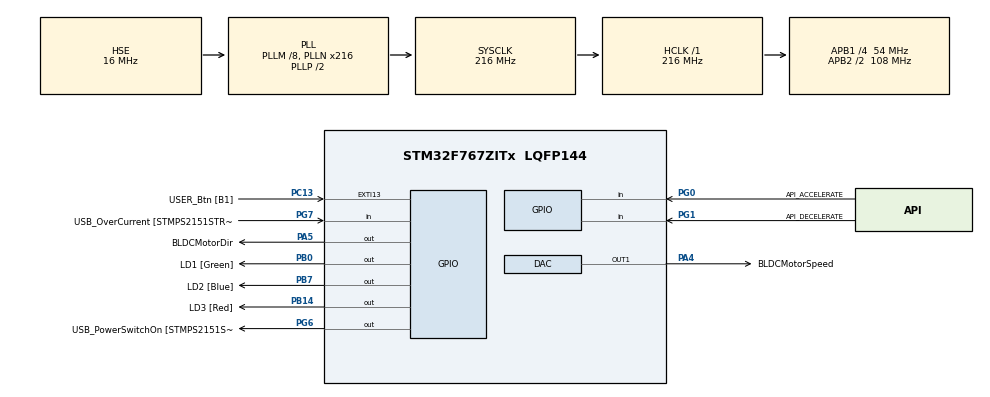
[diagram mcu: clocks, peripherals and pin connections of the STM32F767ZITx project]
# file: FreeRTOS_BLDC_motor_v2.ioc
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DAC.DAC_Trigger=DAC_TRIGGER_NONE
Mcu.Family=STM32F7
Mcu.Name=STM32F767ZITx
Mcu.Package=LQFP144
NVIC.PriorityGroup=NVIC_PRIORITYGROUP_4
PA1.GPIO_Label=RMII_REF_CLK [LAN8742A-CZ-TR_REFCLK0]
PA1.Signal=ETH_REF_CLK
PA10.GPIO_Label=USB_ID
PA10.Signal=USB_OTG_FS_ID
PA11.GPIO_Label=USB_DM
PA11.Signal=USB_OTG_FS_DM
PA12.GPIO_Label=USB_DP
PA12.Signal=USB_OTG_FS_DP
PA13.GPIO_Label=TMS
PA13.Signal=SYS_JTMS-SWDIO
PA14.GPIO_Label=TCK
PA14.Signal=SYS_JTCK-SWCLK
PA2.GPIO_Label=RMII_MDIO [LAN8742A-CZ-TR_MDIO]
PA2.Signal=ETH_MDIO
PA4.GPIO_Label=BLDCMotorSpeed
PA4.Signal=COMP_DAC1_group
PA5.GPIO_Label=BLDCMotorDir
PA5.Signal=GPIO_Output
PA7.GPIO_Label=RMII_CRS_DV [LAN8742A-CZ-TR_CRS_DV]
PA7.Signal=ETH_CRS_DV
PA8.GPIO_Label=USB_SOF [TP1]
PA8.Signal=USB_OTG_FS_SOF
PA9.GPIO_Label=USB_VBUS
PA9.Signal=USB_OTG_FS_VBUS
PB0.GPIO_Label=LD1 [Green]
PB0.Signal=GPIO_Output
PB13.GPIO_Label=RMII_TXD1 [LAN8742A-CZ-TR_TXD1]
PB13.Signal=ETH_TXD1
PB14.GPIO_Label=LD3 [Red]
PB14.Signal=GPIO_Output
PB3.GPIO_Label=SW0
PB3.Signal=SYS_JTDO-SWO
PB7.GPIO_Label=LD2 [Blue]
PB7.Signal=GPIO_Output
PC1.GPIO_Label=RMII_MDC [LAN8742A-CZ-TR_MDC]
PC1.Signal=ETH_MDC
PC13.GPIO_Label=USER_Btn [B1]
PC13.Signal=GPXTI13
PC14/OSC32_IN.Signal=RCC_OSC32_IN
PC15/OSC32_OUT.Signal=RCC_OSC32_OUT
PC4.GPIO_Label=RMII_RXD0 [LAN8742A-CZ-TR_RXD0]
PC4.Signal=ETH_RXD0
PC5.GPIO_Label=RMII_RXD1 [LAN8742A-CZ-TR_RXD1]
PC5.Signal=ETH_RXD1
PD8.GPIO_Label=STLK_RX [STM32F103CBT6_PA3]
PD8.Signal=USART3_TX
PD9.GPIO_Label=STLK_TX [STM32F103CBT6_PA2]
PD9.Signal=USART3_RX
PG0.GPIO_Label=API_ACCELERATE
PG0.Signal=GPIO_Input
PG1.GPIO_Label=API_DECELERATE
PG1.Signal=GPIO_Input
PG11.GPIO_Label=RMII_TX_EN [LAN8742A-CZ-TR_TXEN]
PG11.Signal=ETH_TX_EN
PG13.GPIO_Label=RMII_TXD0 [LAN8742A-CZ-TR_TXD0]
PG13.Signal=ETH_TXD0
PG6.GPIO_Label=USB_PowerSwitchOn [STMPS2151STR_EN]
PG6.Signal=GPIO_Output
PG7.GPIO_Label=USB_OverCurrent [STMPS2151STR_FAULT]
PG7.Signal=GPIO_Input
PH0/OSC_IN.GPIO_Label=MCO [STM32F103CBT6_PA8]
PH0/OSC_IN.Mode=HSE-External-Oscillator
PH0/OSC_IN.Signal=RCC_OSC_IN
PH1/OSC_OUT.Mode=HSE-External-Oscillator
PH1/OSC_OUT.Signal=RCC_OSC_OUT
ProjectManager.HeapSize=0x200
ProjectManager.StackSize=0x400
ProjectManager.TargetToolchain=STM32CubeIDE
RCC.48MHZClocksFreq_Value=24000000
RCC.AHBFreq_Value=216000000
RCC.APB1CLKDivider=RCC_HCLK_DIV4
RCC.APB1Freq_Value=54000000
RCC.APB1TimFreq_Value=108000000
RCC.APB2CLKDivider=RCC_HCLK_DIV2
RCC.APB2Freq_Value=108000000
RCC.APB2TimFreq_Value=216000000
RCC.CortexFreq_Value=216000000
RCC.HCLKFreq_Value=216000000
RCC.HSE_VALUE=16000000
RCC.HSI_VALUE=16000000
RCC.LSE_VALUE=32768
RCC.PLLM=8
RCC.PLLMUL=RCC_PLL_MUL9
RCC.PLLN=216
RCC.PLLSourceVirtual=RCC_PLLSOURCE_HSE
RCC.PRESCALERUSB=RCC_USBCLKSOURCE_PLL_DIV1_5
RCC.SYSCLKFreq_VALUE=216000000
RCC.SYSCLKSource=RCC_SYSCLKSOURCE_PLLCLK
RCC.SYSCLKSourceVirtual=RCC_SYSCLKSOURCE_PLLCLK
RCC.USBFreq_Value=216000000
RCC.VCOOutputFreq_Value=432000000
SH.COMP_DAC1_group.0=DAC_OUT1,DAC_OUT1
board=NUCLEO-F767ZI

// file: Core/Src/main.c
/* USER CODE BEGIN Header */
/**
  ******************************************************************************
  * @file           : main.c
  * @brief          : Main program body
  ******************************************************************************
  * @attention
  *
  * Copyright (c) 2024 STMicroelectronics.
  * All rights reserved.
  *
  * This software is licensed under terms that can be found in the LICENSE file
  * in the root directory of this software component.
  * If no LICENSE file comes with this software, it is provided AS-IS.
  *
  ******************************************************************************
  */
/* USER CODE END Header */
#include "main.h"
#include "dac.h"
#include "gpio.h"

void SystemClock_Config(void);

/* USER CODE BEGIN 0 */
float motorSpeed = 0.3;
uint32_t var = 0.0;
int speedState = 0;

/* USER CODE END 0 */

int main(void)
{

  /* MCU Configuration--------------------------------------------------------*/

  /* Reset of all peripherals, Initializes the Flash interface and the Systick. */
  HAL_Init();

  /* Configure the system clock */
  SystemClock_Config();

  /* Initialize all configured peripherals */
  MX_GPIO_Init();
  MX_DAC_Init();
  /* USER CODE BEGIN 2 */
  HAL_DAC_Start(&hdac, DAC1_CHANNEL_1);

  /* USER CODE END 2 */

  /* Infinite loop */
  while (1)
  {

    /* USER CODE BEGIN 3 */
	  if(HAL_GPIO_ReadPin(API_ACCELERATE_GPIO_Port, API_ACCELERATE_Pin) == GPIO_PIN_SET) {
		  if (speedState < 4){
			  speedState ++;
		  }
		  HAL_Delay(100);
	  }

	  if(HAL_GPIO_ReadPin(API_DECELERATE_GPIO_Port, API_DECELERATE_Pin) == GPIO_PIN_SET) {
		  if (speedState > -2){
			  speedState --;
		  }
		  HAL_Delay(100);
	  }

	  switch(speedState) {
	  case -2:
		  motorSpeed = 0.5;
		  HAL_GPIO_WritePin(BLDCMotorDir_GPIO_Port, BLDCMotorDir_Pin, SET);
		  break;
	  case -1:
		  motorSpeed = 0.4;
		  HAL_GPIO_WritePin(BLDCMotorDir_GPIO_Port, BLDCMotorDir_Pin, SET);
		  break;
	  case 0:
		  motorSpeed = 0.0;
		  break;
	  case 1:
		  motorSpeed = 0.4;
		  HAL_GPIO_WritePin(BLDCMotorDir_GPIO_Port, BLDCMotorDir_Pin, RESET);
		  break;
	  case 2:
		  motorSpeed = 0.5;
		  HAL_GPIO_WritePin(BLDCMotorDir_GPIO_Port, BLDCMotorDir_Pin, RESET);
		  break;
	  case 3:
		  motorSpeed = 0.6;
		  HAL_GPIO_WritePin(BLDCMotorDir_GPIO_Port, BLDCMotorDir_Pin, RESET);
		  break;
	  case 4:
		  motorSpeed = 0.7;
		  HAL_GPIO_WritePin(BLDCMotorDir_GPIO_Port, BLDCMotorDir_Pin, RESET);
		  break;
	  }

	  var = motorSpeed * (0xfff + 1) / 3.3;
	  HAL_DAC_SetValue(&hdac, DAC1_CHANNEL_1, DAC_ALIGN_12B_R, var);
  }
  /* USER CODE END 3 */
}

void SystemClock_Config(void)
{
  RCC_OscInitTypeDef RCC_OscInitStruct = {0};
  RCC_ClkInitTypeDef RCC_ClkInitStruct = {0};

  /** Configure the main internal regulator output voltage
  */
  __HAL_RCC_PWR_CLK_ENABLE();
  __HAL_PWR_VOLTAGESCALING_CONFIG(PWR_REGULATOR_VOLTAGE_SCALE1);

  /** Initializes the RCC Oscillators according to the specified parameters
  * in the RCC_OscInitTypeDef structure.
  */
  RCC_OscInitStruct.OscillatorType = RCC_OSCILLATORTYPE_HSE;
  RCC_OscInitStruct.HSEState = RCC_HSE_ON;
  RCC_OscInitStruct.PLL.PLLState = RCC_PLL_ON;
  RCC_OscInitStruct.PLL.PLLSource = RCC_PLLSOURCE_HSE;
  RCC_OscInitStruct.PLL.PLLM = 8;
  RCC_OscInitStruct.PLL.PLLN = 216;
  RCC_OscInitStruct.PLL.PLLP = RCC_PLLP_DIV2;
  RCC_OscInitStruct.PLL.PLLQ = 2;
  RCC_OscInitStruct.PLL.PLLR = 2;
  if (HAL_RCC_OscConfig(&RCC_OscInitStruct) != HAL_OK)
  {
    Error_Handler();
  }

  /** Activate the Over-Drive mode
  */
  if (HAL_PWREx_EnableOverDrive() != HAL_OK)
  {
    Error_Handler();
  }

  /** Initializes the CPU, AHB and APB buses clocks
  */
  RCC_ClkInitStruct.ClockType = RCC_CLOCKTYPE_HCLK|RCC_CLOCKTYPE_SYSCLK
                              |RCC_CLOCKTYPE_PCLK1|RCC_CLOCKTYPE_PCLK2;
  RCC_ClkInitStruct.SYSCLKSource = RCC_SYSCLKSOURCE_PLLCLK;
  RCC_ClkInitStruct.AHBCLKDivider = RCC_SYSCLK_DIV1;
  RCC_ClkInitStruct.APB1CLKDivider = RCC_HCLK_DIV4;
  RCC_ClkInitStruct.APB2CLKDivider = RCC_HCLK_DIV2;

  if (HAL_RCC_ClockConfig(&RCC_ClkInitStruct, FLASH_LATENCY_7) != HAL_OK)
  {
    Error_Handler();
  }
}

void Error_Handler(void)
{
  __disable_irq();
  while (1)
  {
  }
}
